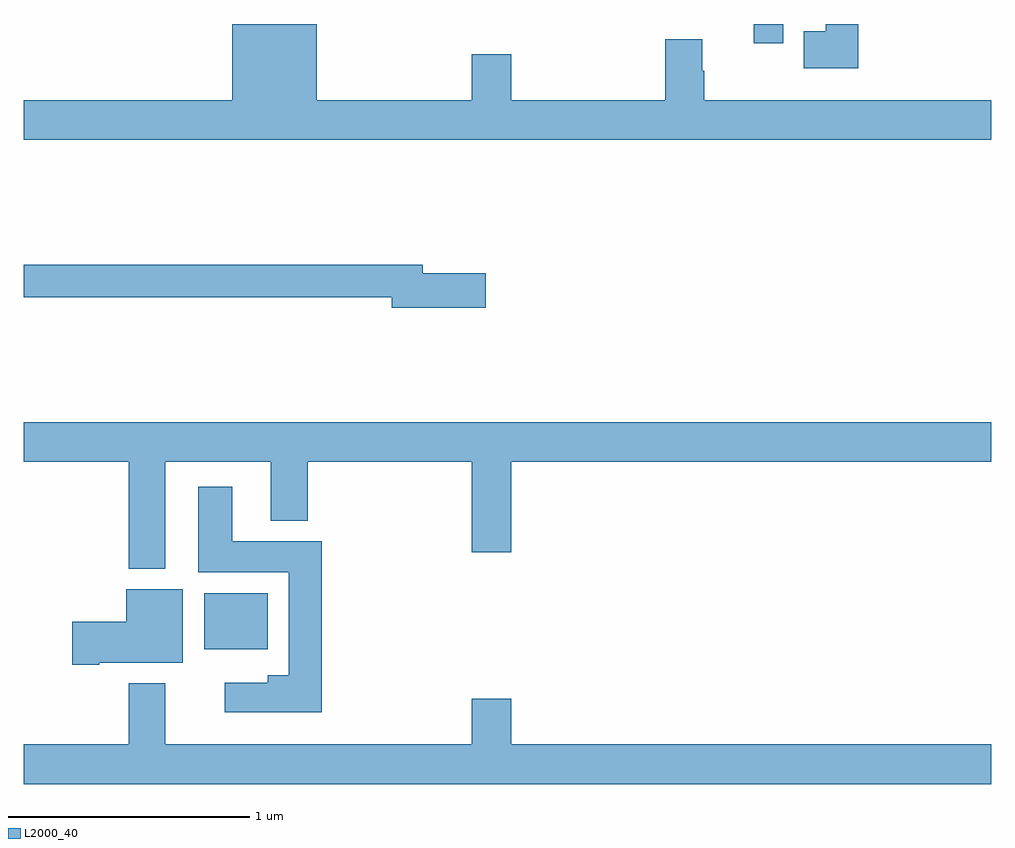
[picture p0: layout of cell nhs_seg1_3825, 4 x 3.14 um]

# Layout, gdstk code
import gdstk
lib = gdstk.Library(unit=1e-6, precision=1e-09)
def R(c, l, rs):  # rectangles x0, y0, x1, y1
    for r in rs: c.add(gdstk.rectangle(r[:2], r[2:], *l))
def P(c, l, *ps):  # polygons
    for p in ps: c.add(gdstk.Polygon(p, *l))
L2000_40 = (2000, 40)

nhs_seg1_3825 = lib.new_cell('nhs_seg1_3825')
R(nhs_seg1_3825, L2000_40, [(319.745,561.614,320.008,561.844), (322.019,564.12,322.141,564.199)])
P(nhs_seg1_3825, L2000_40, [(322.451,564.199),(322.316,564.199),(322.316,564.169),(322.226,564.169),(322.226,564.017),(322.451,564.017)],
  [(321.653,564.136),(321.653,563.884),(321.016,563.884),(321.016,564.073),(320.852,564.073),(320.852,563.884),(320.212,563.884),(320.212,564.199),(319.862,564.199),(319.862,563.884),(319,563.884),(319,563.72),(323,563.72),(323,563.884),(321.813,563.884),(321.813,564.005),(321.805,564.005),(321.805,564.136)],
  [(320.911,563.168),(320.65,563.168),(320.65,563.204),(319,563.204),(319,563.068),(320.522,563.068),(320.522,563.026),(320.911,563.026)],
  [(319.585,562.388),(320.021,562.388),(320.021,562.145),(320.174,562.145),(320.174,562.388),(320.852,562.388),(320.852,562.014),(321.016,562.014),(321.016,562.388),(323,562.388),(323,562.552),(319,562.552),(319,562.388),(319.433,562.388),(319.433,561.947),(319.585,561.947)],
  [(320.231,562.06),(319.861,562.06),(319.861,562.285),(319.721,562.285),(319.721,561.932),(320.096,561.932),(320.096,561.505),(320.009,561.505),(320.009,561.475),(319.83,561.475),(319.83,561.353),(320.231,561.353)],
  [(319.312,561.557),(319.657,561.557),(319.657,561.862),(319.424,561.862),(319.424,561.728),(319.2,561.728),(319.2,561.55),(319.312,561.55)],
  [(323,561.22),(321.016,561.22),(321.016,561.409),(320.852,561.409),(320.852,561.22),(319.585,561.22),(319.585,561.472),(319.433,561.472),(319.433,561.22),(319,561.22),(319,561.056),(323,561.056)])

lib.write_gds('nhs_seg1_3825.gds')
